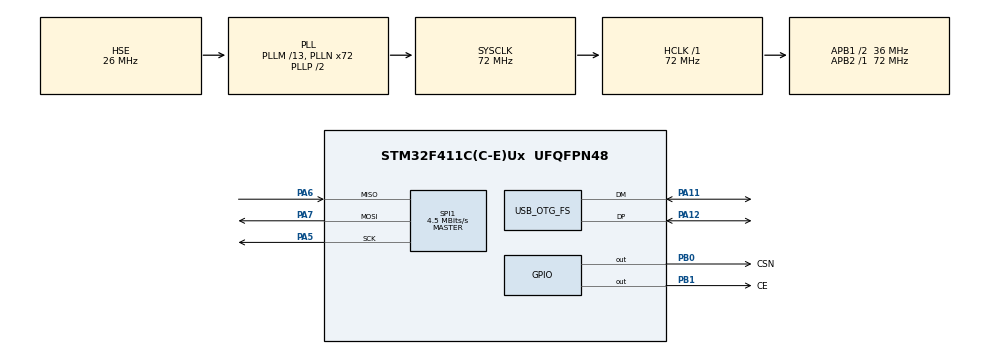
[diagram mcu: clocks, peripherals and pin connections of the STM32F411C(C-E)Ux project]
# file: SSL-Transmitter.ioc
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Mcu.Family=STM32F4
Mcu.Name=STM32F411C(C-E)Ux
Mcu.Package=UFQFPN48
NVIC.OTG_FS_IRQn=true\:0\:0\:false\:false\:true\:false\:true\:true
NVIC.PriorityGroup=NVIC_PRIORITYGROUP_4
PA11.Mode=Device_Only
PA11.Signal=USB_OTG_FS_DM
PA12.Mode=Device_Only
PA12.Signal=USB_OTG_FS_DP
PA5.Mode=Full_Duplex_Master
PA5.Signal=SPI1_SCK
PA6.Mode=Full_Duplex_Master
PA6.Signal=SPI1_MISO
PA7.Mode=Full_Duplex_Master
PA7.Signal=SPI1_MOSI
PB0.GPIO_Label=CSN
PB0.Signal=GPIO_Output
PB1.GPIO_Label=CE
PB1.Signal=GPIO_Output
PH0\ -\ OSC_IN.Mode=HSE-External-Oscillator
PH0\ -\ OSC_IN.Signal=RCC_OSC_IN
PH1\ -\ OSC_OUT.Mode=HSE-External-Oscillator
PH1\ -\ OSC_OUT.Signal=RCC_OSC_OUT
ProjectManager.HeapSize=0x200
ProjectManager.StackSize=0x400
ProjectManager.TargetToolchain=STM32CubeIDE
RCC.48MHZClocksFreq_Value=48000000
RCC.AHBFreq_Value=72000000
RCC.APB1CLKDivider=RCC_HCLK_DIV2
RCC.APB1Freq_Value=36000000
RCC.APB1TimFreq_Value=72000000
RCC.APB2Freq_Value=72000000
RCC.APB2TimFreq_Value=72000000
RCC.CortexFreq_Value=72000000
RCC.HCLKFreq_Value=72000000
RCC.HSE_VALUE=26000000
RCC.HSI_VALUE=16000000
RCC.LSE_VALUE=32768
RCC.PLLM=13
RCC.PLLN=72
RCC.PLLQ=3
RCC.SYSCLKFreq_VALUE=72000000
RCC.SYSCLKSource=RCC_SYSCLKSOURCE_PLLCLK
RCC.VCOOutputFreq_Value=144000000
SPI1.BaudRatePrescaler=SPI_BAUDRATEPRESCALER_16
SPI1.CalculateBaudRate=4.5 MBits/s
SPI1.Direction=SPI_DIRECTION_2LINES
SPI1.Mode=SPI_MODE_MASTER
SPI1.VirtualType=VM_MASTER
USB_DEVICE.CLASS_NAME_FS=CDC
USB_DEVICE.MANUFACTURER_STRING=TauraBots
USB_DEVICE.VirtualMode=Cdc
USB_DEVICE.VirtualModeFS=Cdc_FS
USB_OTG_FS.VirtualMode=Device_Only
VP_USB_DEVICE_VS_USB_DEVICE_CDC_FS.Mode=CDC_FS
board=custom

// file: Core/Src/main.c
/* USER CODE BEGIN Header */
/**
  ******************************************************************************
  * @file           : main.c
  * @brief          : Main program body
  ******************************************************************************
  * @attention
  *
  * Copyright (c) 2025 STMicroelectronics.
  * All rights reserved.
  *
  * This software is licensed under terms that can be found in the LICENSE file
  * in the root directory of this software component.
  * If no LICENSE file comes with this software, it is provided AS-IS.
  *
  ******************************************************************************
  */
/* USER CODE END Header */
#include "main.h"
#include "usb_device.h"

/* USER CODE BEGIN Includes */
#include <string.h>
#include "Comm/COMM.h"
#include <stdio.h>

#define CANAL_RF 76
#define ROBO_ALVO_ID 1

const uint8_t ADDR_BASE_LISTEN[5]  = {0xB1, 0xB2, 0xB3, 0xB4, 0xB5};
const uint8_t ADDR_ROBOT_LISTEN[5] = {0xA1, 0xA2, 0xA3, 0xA4, 0xA5};

/* USER CODE END Includes */

SPI_HandleTypeDef hspi1;

void SystemClock_Config(void);
static void MX_GPIO_Init(void);
static void MX_SPI1_Init(void);

/* USER CODE BEGIN 0 */
static uint32_t sent_packet_times[256];      // Armazena o tempo de envio para cada seq_num
static uint32_t rtt_sum = 0;                 // Soma dos RTTs para calcular a média
static uint32_t rtt_count = 0;               // Contador de RTTs medidos
static uint32_t command_attempts = 0;        // Total de comandos que tentamos enviar
static uint32_t command_failures = 0;        // Comandos que falharam (sem ACK)
static uint32_t telemetry_replies_lost = 0;  // Contagem de telemetrias de resposta perdidas

void handle_ssl_telemetry(const ssl_telemetry_payload_t* tel_data, uint8_t robot_id, uint8_t seq_num) {

    uint8_t acked_cmd_seq = tel_data->command_seq_num_ack;

    if (sent_packet_times[acked_cmd_seq] != 0) { // Verifica se já não processamos este ACK
        uint32_t rtt = HAL_GetTick() - sent_packet_times[acked_cmd_seq];
        rtt_sum += rtt;
        rtt_count++;
        sent_packet_times[acked_cmd_seq] = 0; // Marca como processado para evitar recontagem

        printf("TELEMETRIA OK (Seq %d) para CMD (Seq %d) | RTT: %lu ms\r\n",
               seq_num, acked_cmd_seq, rtt);
    }

}
/* USER CODE END 0 */

int main(void)
{

  /* MCU Configuration--------------------------------------------------------*/

  /* Reset of all peripherals, Initializes the Flash interface and the Systick. */
  HAL_Init();

  /* Configure the system clock */
  SystemClock_Config();

  /* Initialize all configured peripherals */
  MX_GPIO_Init();
  MX_USB_DEVICE_Init();
  MX_SPI1_Init();
  /* USER CODE BEGIN 2 */
  Comm_Init_P2P(COMM_ROBOT_TYPE_SSL, CANAL_RF, ADDR_BASE_LISTEN, ADDR_ROBOT_LISTEN);
  Comm_Register_SSL_TelemetryHandler(handle_ssl_telemetry);

  uint32_t last_command_send_time = 0;
  uint32_t last_stats_print_time = 0;
  ssl_command_payload_t ssl_command_data;

  /* USER CODE END 2 */

  /* Infinite loop */
  /* USER CODE BEGIN WHILE */
  while (1)
  {
		Comm_ProcessReceivedPackets();
		if (HAL_GetTick() - last_command_send_time >= 50) {
			last_command_send_time = HAL_GetTick();

			// Preencher comando
			memset(&ssl_command_data, 0, sizeof(ssl_command_payload_t));
			ssl_command_data.command_subtype = SSL_CMD_SET_VELOCITIES;
			ssl_command_data.robot_id = ROBO_ALVO_ID;
			ssl_command_data.vx = 150;

			command_attempts++;
			int16_t sent_seq = Comm_Send_SSL_Command(&ssl_command_data);

			if (sent_seq != -1) { // Sucesso no envio (ACK do comando recebido)
				sent_packet_times[sent_seq] = HAL_GetTick(); // Armazena o tempo de envio
			} else {
				command_failures++; // Falha no envio (sem ACK do comando)
				printf("Falha ao enviar comando!\r\n");
			}
		}
		if (HAL_GetTick() - last_stats_print_time >= 2000) {
			last_stats_print_time = HAL_GetTick();

			uint32_t successful_commands = command_attempts - command_failures;
			if (successful_commands > rtt_count) {
				telemetry_replies_lost = successful_commands - rtt_count;
			}

			float avg_rtt = (rtt_count > 0) ? (float)rtt_sum / rtt_count : 0.0f;
			float cmd_loss_rate = (command_attempts > 0) ? ((float)command_failures / command_attempts) * 100.0f : 0.0f;
			float tel_loss_rate = (successful_commands > 0) ? ((float)telemetry_replies_lost / successful_commands) * 100.0f : 0.0f;

		}
    /* USER CODE END WHILE */

  }
}

void SystemClock_Config(void)
{
  RCC_OscInitTypeDef RCC_OscInitStruct = {0};
  RCC_ClkInitTypeDef RCC_ClkInitStruct = {0};

  /** Configure the main internal regulator output voltage
  */
  __HAL_RCC_PWR_CLK_ENABLE();
  __HAL_PWR_VOLTAGESCALING_CONFIG(PWR_REGULATOR_VOLTAGE_SCALE1);

  /** Initializes the RCC Oscillators according to the specified parameters
  * in the RCC_OscInitTypeDef structure.
  */
  RCC_OscInitStruct.OscillatorType = RCC_OSCILLATORTYPE_HSE;
  RCC_OscInitStruct.HSEState = RCC_HSE_ON;
  RCC_OscInitStruct.PLL.PLLState = RCC_PLL_ON;
  RCC_OscInitStruct.PLL.PLLSource = RCC_PLLSOURCE_HSE;
  RCC_OscInitStruct.PLL.PLLM = 13;
  RCC_OscInitStruct.PLL.PLLN = 72;
  RCC_OscInitStruct.PLL.PLLP = RCC_PLLP_DIV2;
  RCC_OscInitStruct.PLL.PLLQ = 3;
  if (HAL_RCC_OscConfig(&RCC_OscInitStruct) != HAL_OK)
  {
    Error_Handler();
  }

  /** Initializes the CPU, AHB and APB buses clocks
  */
  RCC_ClkInitStruct.ClockType = RCC_CLOCKTYPE_HCLK|RCC_CLOCKTYPE_SYSCLK
                              |RCC_CLOCKTYPE_PCLK1|RCC_CLOCKTYPE_PCLK2;
  RCC_ClkInitStruct.SYSCLKSource = RCC_SYSCLKSOURCE_PLLCLK;
  RCC_ClkInitStruct.AHBCLKDivider = RCC_SYSCLK_DIV1;
  RCC_ClkInitStruct.APB1CLKDivider = RCC_HCLK_DIV2;
  RCC_ClkInitStruct.APB2CLKDivider = RCC_HCLK_DIV1;

  if (HAL_RCC_ClockConfig(&RCC_ClkInitStruct, FLASH_LATENCY_2) != HAL_OK)
  {
    Error_Handler();
  }
}

static void MX_SPI1_Init(void)
{

  /* SPI1 parameter configuration*/
  hspi1.Instance = SPI1;
  hspi1.Init.Mode = SPI_MODE_MASTER;
  hspi1.Init.Direction = SPI_DIRECTION_2LINES;
  hspi1.Init.DataSize = SPI_DATASIZE_8BIT;
  hspi1.Init.CLKPolarity = SPI_POLARITY_LOW;
  hspi1.Init.CLKPhase = SPI_PHASE_1EDGE;
  hspi1.Init.NSS = SPI_NSS_SOFT;
  hspi1.Init.BaudRatePrescaler = SPI_BAUDRATEPRESCALER_16;
  hspi1.Init.FirstBit = SPI_FIRSTBIT_MSB;
  hspi1.Init.TIMode = SPI_TIMODE_DISABLE;
  hspi1.Init.CRCCalculation = SPI_CRCCALCULATION_DISABLE;
  hspi1.Init.CRCPolynomial = 10;
  if (HAL_SPI_Init(&hspi1) != HAL_OK)
  {
    Error_Handler();
  }

}

static void MX_GPIO_Init(void)
{
  GPIO_InitTypeDef GPIO_InitStruct = {0};

  /* GPIO Ports Clock Enable */
  __HAL_RCC_GPIOH_CLK_ENABLE();
  __HAL_RCC_GPIOA_CLK_ENABLE();
  __HAL_RCC_GPIOB_CLK_ENABLE();

  /*Configure GPIO pin Output Level */
  HAL_GPIO_WritePin(GPIOB, CSN_Pin|CE_Pin, GPIO_PIN_RESET);

  /*Configure GPIO pins : CSN_Pin CE_Pin */
  GPIO_InitStruct.Pin = CSN_Pin|CE_Pin;
  GPIO_InitStruct.Mode = GPIO_MODE_OUTPUT_PP;
  GPIO_InitStruct.Pull = GPIO_NOPULL;
  GPIO_InitStruct.Speed = GPIO_SPEED_FREQ_LOW;
  HAL_GPIO_Init(GPIOB, &GPIO_InitStruct);

}

void Error_Handler(void)
{
  __disable_irq();
  while (1)
  {
  }
}
